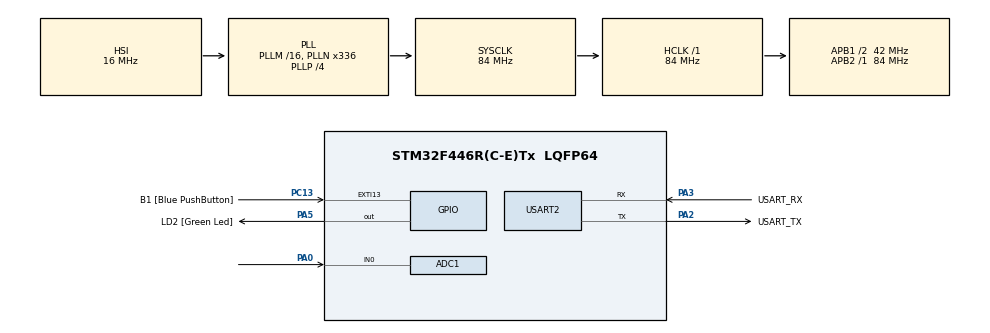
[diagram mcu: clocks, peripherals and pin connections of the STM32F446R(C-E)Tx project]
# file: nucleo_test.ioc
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Mcu.Family=STM32F4
PH0-OSC_IN.Signal=RCC_OSC_IN
RCC.CortexFreq_Value=84000000
ADC1.ContinuousConvMode=ENABLE
PA14.GPIO_Label=TCK
PC13.GPIO_Label=B1 [Blue PushButton]
RCC.SYSCLKSource=RCC_SYSCLKSOURCE_PLLCLK
ProjectManager.StackSize=0x400
RCC.HCLKFreq_Value=84000000
RCC.APB2TimFreq_Value=84000000
TIM3.Period=84
Dma.ADC1.0.Direction=DMA_PERIPH_TO_MEMORY
NVIC.DMA2_Stream0_IRQn=true\:0\:0\:false\:false\:true\:false\:true
Dma.ADC1.0.MemDataAlignment=DMA_MDATAALIGN_HALFWORD
RCC.AHBFreq_Value=84000000
PH0-OSC_IN.Mode=HSE-External-Oscillator
TIM3.ClockDivision=TIM_CLOCKDIVISION_DIV2
ADC1.Channel-0\#ChannelRegularConversion=ADC_CHANNEL_0
RCC.HSE_VALUE=8000000
ADC1.ScanConvMode=DISABLE
PC14-OSC32_IN.Mode=LSE-External-Oscillator
PA14.Mode=Serial_Wire
Dma.ADC1.0.PeriphInc=DMA_PINC_DISABLE
SH.ADCx_IN0.0=ADC1_IN0,IN0
ADC1.SamplingTime-0\#ChannelRegularConversion=ADC_SAMPLETIME_3CYCLES
RCC.FLatency-AdvancedSettings=FLASH_LATENCY_2
PH1-OSC_OUT.Mode=HSE-External-Oscillator
Mcu.Package=LQFP64
USART2.VirtualMode=VM_ASYNC
STMicroelectronics.X-CUBE-ALGOBUILD.1.2.0.LibraryCcDSPOoLibraryJjDSPOoLibrary=true
PA2.GPIO_Label=USART_TX
RCC.APB1TimFreq_Value=84000000
Dma.ADC1.0.FIFOMode=DMA_FIFOMODE_DISABLE
VP_STMicroelectronics.X-CUBE-ALGOBUILD_VS_DSPOoLibraryJjLibrary_1.2.0_1.2.0.Mode=DSPOoLibraryJjLibrary
Dma.Request0=ADC1
VP_TIM3_VS_ClockSourceINT.Mode=Internal
PA3.Signal=USART2_RX
PB3.GPIO_Label=SWO
PC15-OSC32_OUT.Mode=LSE-External-Oscillator
Dma.ADC1.0.Instance=DMA2_Stream0
ADC1.Rank-0\#ChannelRegularConversion=1
TIM3.AutoReloadPreload=TIM_AUTORELOAD_PRELOAD_ENABLE
PC13.Signal=GPXTI13
ADC1.DiscontinuousConvMode=DISABLE
TIM8.TIM_MasterSlaveMode=TIM_MASTERSLAVEMODE_ENABLE
RCC.APB1CLKDivider=RCC_HCLK_DIV2
PC14-OSC32_IN.Signal=RCC_OSC32_IN
PA0-WKUP.Signal=ADCx_IN0
PA13.Signal=SYS_JTMS-SWDIO
PA3.Mode=Asynchronous
Dma.ADC1.0.PeriphDataAlignment=DMA_PDATAALIGN_HALFWORD
ProjectManager.TargetToolchain=STM32CubeIDE
Dma.ADC1.0.Mode=DMA_CIRCULAR
Dma.ADC1.0.Priority=DMA_PRIORITY_HIGH
VP_TIM8_VS_ClockSourceINT.Mode=Internal
RCC.USBFreq_Value=168000000
PC15-OSC32_OUT.Signal=RCC_OSC32_OUT
PA5.Signal=GPIO_Output
TIM8.AutoReloadPreload=TIM_AUTORELOAD_PRELOAD_ENABLE
board=NUCLEO-F446RE
RCC.VCOOutputFreq_Value=336000000
RCC.APB2Freq_Value=84000000
PH1-OSC_OUT.Signal=RCC_OSC_OUT
ADC1.DMAContinuousRequests=ENABLE
ADC1.NbrOfConversion=1
PA13.Mode=Serial_Wire
Mcu.Name=STM32F446R(C-E)Tx
PA2.Signal=USART2_TX
PA13.GPIO_Label=TMS
ADC1.ExternalTrigConv=ADC_EXTERNALTRIGCONV_T3_TRGO
TIM8.Period=170
RCC.48MHZClocksFreq_Value=84000000
PB3.Signal=SYS_JTDO-SWO
RCC.SYSCLKFreq_VALUE=84000000
ADC1.master=1
PA5.GPIO_Label=LD2 [Green Led]
TIM8.TIM_MasterOutputTrigger=TIM_TRGO_UPDATE
PC13.GPIO_ModeDefaultEXTI=GPIO_MODE_IT_FALLING
TIM3.TIM_MasterSlaveMode=TIM_MASTERSLAVEMODE_ENABLE
PA14.Signal=SYS_JTCK-SWCLK
Dma.ADC1.0.MemInc=DMA_MINC_ENABLE
ProjectManager.HeapSize=0x200
RCC.HSI_VALUE=16000000
NVIC.TIM8_UP_TIM13_IRQn=true\:0\:0\:false\:false\:true\:true\:true
RCC.PLLP=RCC_PLLP_DIV4
NVIC.PriorityGroup=NVIC_PRIORITYGROUP_0
ADC1.NbrOfConversionFlag=1
RCC.PLLN=336
PA2.Mode=Asynchronous
TIM3.TIM_MasterOutputTrigger=TIM_TRGO_UPDATE
RCC.APB1Freq_Value=42000000
PA3.GPIO_Label=USART_RX

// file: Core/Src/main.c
/* USER CODE BEGIN Header */
/**
  ******************************************************************************
  * @file           : main.c
  * @brief          : Main program body
  ******************************************************************************
  * @attention
  *
  * <h2><center>&copy; Copyright (c) 2021 STMicroelectronics.
  * All rights reserved.</center></h2>
  *
  * This software component is licensed by ST under BSD 3-Clause license,
  * the "License"; You may not use this file except in compliance with the
  * License. You may obtain a copy of the License at:
  *                        opensource.org/licenses/BSD-3-Clause
  *
  ******************************************************************************
  */
/* USER CODE END Header */
#include "main.h"

/* USER CODE BEGIN Includes */
#define ARM_MATH_CM4
#include "arm_math.h"
//const int16_t  FFTSIZE=1024;
#define FFTSIZE 1024
//
//
//
/* USER CODE END Includes */

ADC_HandleTypeDef hadc1;
DMA_HandleTypeDef hdma_adc1;

TIM_HandleTypeDef htim3;
TIM_HandleTypeDef htim8;

UART_HandleTypeDef huart2;

void SystemClock_Config(void);
static void MX_GPIO_Init(void);
static void MX_DMA_Init(void);
static void MX_USART2_UART_Init(void);
static void MX_TIM8_Init(void);
static void MX_ADC1_Init(void);
static void MX_TIM3_Init(void);

/* USER CODE BEGIN PFP */

arm_cfft_radix2_instance_q15 S;

q15_t pData[FFTSIZE*2]={0};

q15_t  cfft_res[FFTSIZE*2];

arm_cfft_radix2_instance_q15 S;

void HAL_ADC_ConvCpltCallback(ADC_HandleTypeDef* hadc)
{
    asm("   nop");
}

void HAL_ADC_ConvHalfCpltCallback(ADC_HandleTypeDef* hadc) {
	int i;
	int16_t *ip = cfft_res;

	asm("  nop");

    //for(i=0;i<FFTSIZE*2; i++) {
    //	cfft_res[i] = 0;
    //}

	for(i=0;i<FFTSIZE; i++) {
		*ip++ = pData[i]-2048; //re,im,re,im,re,im............
	    *ip++ = 0;
    }

	asm("  nop");
	//arm_cfft_radix2_init_q15 ( S, FFTSIZE, 0, 1);
    arm_cfft_radix2_init_q15 ( &S, 1024, 0, 1);

	arm_cfft_radix2_q15(&S, cfft_res);
	asm("  nop");

}

/* USER CODE END PFP */

int main(void)
{
  /* USER CODE BEGIN 1 */
int i,j,k;
  /* USER CODE END 1 */

  /* MCU Configuration--------------------------------------------------------*/

  /* Reset of all peripherals, Initializes the Flash interface and the Systick. */
  HAL_Init();

  /* Configure the system clock */
  SystemClock_Config();

  /* Initialize all configured peripherals */
  MX_GPIO_Init();
  MX_DMA_Init();
  MX_USART2_UART_Init();
  MX_TIM8_Init();
  MX_ADC1_Init();
  MX_TIM3_Init();
  /* USER CODE BEGIN 2 */

   i = HAL_TIM_Base_Start_IT(&htim8); // 2uS
   j = HAL_TIM_Base_Start(&htim3); // 2uS for DAC

   // HAL_ADC_Start_DMA_IT(&hadc1, &pData, 1024); ? que ?

   //i = HAL_ADC_Start_DMA(hadc, pData, Length)
   // what what what HAL_ADC_Start_IT(&hadc1);
   j = HAL_ADC_Start_DMA(&hadc1, (uint32_t*)&pData, FFTSIZE);
   HAL_ADC_MspInit(&hadc1); // missing ingredient to get the DMA actually working
  /* USER CODE END 2 */

  /* Infinite loop */
  while (1)
  {

    /* USER CODE BEGIN 3 */

	  HAL_GPIO_TogglePin(GPIOA, 1<<5);
	  asm ("   nop");
	  j = HAL_ADC_Start_DMA(&hadc1, (uint32_t*)&pData, FFTSIZE);
	  HAL_Delay(1000); // 1000 is one second
	  asm ("   nop");
	  i = htim8.Instance->CNT;
	  j = htim3.Instance->CNT;
	  asm ("   nop");
	  //HAL_GPIO_WritePin(GPIO_TypeDef* GPIOx, uint16_t GPIO_Pin, GPIO_PinState PinState)
  }
  /* USER CODE END 3 */
}

void SystemClock_Config(void)
{
  RCC_OscInitTypeDef RCC_OscInitStruct = {0};
  RCC_ClkInitTypeDef RCC_ClkInitStruct = {0};

  /** Configure the main internal regulator output voltage
  */
  __HAL_RCC_PWR_CLK_ENABLE();
  __HAL_PWR_VOLTAGESCALING_CONFIG(PWR_REGULATOR_VOLTAGE_SCALE3);
  /** Initializes the RCC Oscillators according to the specified parameters
  * in the RCC_OscInitTypeDef structure.
  */
  RCC_OscInitStruct.OscillatorType = RCC_OSCILLATORTYPE_HSI;
  RCC_OscInitStruct.HSIState = RCC_HSI_ON;
  RCC_OscInitStruct.HSICalibrationValue = RCC_HSICALIBRATION_DEFAULT;
  RCC_OscInitStruct.PLL.PLLState = RCC_PLL_ON;
  RCC_OscInitStruct.PLL.PLLSource = RCC_PLLSOURCE_HSI;
  RCC_OscInitStruct.PLL.PLLM = 16;
  RCC_OscInitStruct.PLL.PLLN = 336;
  RCC_OscInitStruct.PLL.PLLP = RCC_PLLP_DIV4;
  RCC_OscInitStruct.PLL.PLLQ = 2;
  RCC_OscInitStruct.PLL.PLLR = 2;
  if (HAL_RCC_OscConfig(&RCC_OscInitStruct) != HAL_OK)
  {
    Error_Handler();
  }
  /** Initializes the CPU, AHB and APB buses clocks
  */
  RCC_ClkInitStruct.ClockType = RCC_CLOCKTYPE_HCLK|RCC_CLOCKTYPE_SYSCLK
                              |RCC_CLOCKTYPE_PCLK1|RCC_CLOCKTYPE_PCLK2;
  RCC_ClkInitStruct.SYSCLKSource = RCC_SYSCLKSOURCE_PLLCLK;
  RCC_ClkInitStruct.AHBCLKDivider = RCC_SYSCLK_DIV1;
  RCC_ClkInitStruct.APB1CLKDivider = RCC_HCLK_DIV2;
  RCC_ClkInitStruct.APB2CLKDivider = RCC_HCLK_DIV1;

  if (HAL_RCC_ClockConfig(&RCC_ClkInitStruct, FLASH_LATENCY_2) != HAL_OK)
  {
    Error_Handler();
  }
}

static void MX_ADC1_Init(void)
{

  ADC_ChannelConfTypeDef sConfig = {0};

  /** Configure the global features of the ADC (Clock, Resolution, Data Alignment and number of conversion)
  */
  hadc1.Instance = ADC1;
  hadc1.Init.ClockPrescaler = ADC_CLOCK_SYNC_PCLK_DIV4;
  hadc1.Init.Resolution = ADC_RESOLUTION_12B;
  hadc1.Init.ScanConvMode = DISABLE;
  hadc1.Init.ContinuousConvMode = ENABLE;
  hadc1.Init.DiscontinuousConvMode = DISABLE;
  hadc1.Init.ExternalTrigConvEdge = ADC_EXTERNALTRIGCONVEDGE_RISING;
  hadc1.Init.ExternalTrigConv = ADC_EXTERNALTRIGCONV_T3_TRGO;
  hadc1.Init.DataAlign = ADC_DATAALIGN_RIGHT;
  hadc1.Init.NbrOfConversion = 1;
  hadc1.Init.DMAContinuousRequests = ENABLE;
  hadc1.Init.EOCSelection = ADC_EOC_SINGLE_CONV;
  if (HAL_ADC_Init(&hadc1) != HAL_OK)
  {
    Error_Handler();
  }
  /** Configure for the selected ADC regular channel its corresponding rank in the sequencer and its sample time.
  */
  sConfig.Channel = ADC_CHANNEL_0;
  sConfig.Rank = 1;
  sConfig.SamplingTime = ADC_SAMPLETIME_3CYCLES;
  if (HAL_ADC_ConfigChannel(&hadc1, &sConfig) != HAL_OK)
  {
    Error_Handler();
  }

}

static void MX_TIM3_Init(void)
{

  TIM_ClockConfigTypeDef sClockSourceConfig = {0};
  TIM_MasterConfigTypeDef sMasterConfig = {0};

  htim3.Instance = TIM3;
  htim3.Init.Prescaler = 0;
  htim3.Init.CounterMode = TIM_COUNTERMODE_UP;
  htim3.Init.Period = 84;
  htim3.Init.ClockDivision = TIM_CLOCKDIVISION_DIV2;
  htim3.Init.AutoReloadPreload = TIM_AUTORELOAD_PRELOAD_ENABLE;
  if (HAL_TIM_Base_Init(&htim3) != HAL_OK)
  {
    Error_Handler();
  }
  sClockSourceConfig.ClockSource = TIM_CLOCKSOURCE_INTERNAL;
  if (HAL_TIM_ConfigClockSource(&htim3, &sClockSourceConfig) != HAL_OK)
  {
    Error_Handler();
  }
  sMasterConfig.MasterOutputTrigger = TIM_TRGO_UPDATE;
  sMasterConfig.MasterSlaveMode = TIM_MASTERSLAVEMODE_ENABLE;
  if (HAL_TIMEx_MasterConfigSynchronization(&htim3, &sMasterConfig) != HAL_OK)
  {
    Error_Handler();
  }

}

static void MX_TIM8_Init(void)
{

  TIM_ClockConfigTypeDef sClockSourceConfig = {0};
  TIM_MasterConfigTypeDef sMasterConfig = {0};

  htim8.Instance = TIM8;
  htim8.Init.Prescaler = 0;
  htim8.Init.CounterMode = TIM_COUNTERMODE_UP;
  htim8.Init.Period = 170;
  htim8.Init.ClockDivision = TIM_CLOCKDIVISION_DIV1;
  htim8.Init.RepetitionCounter = 0;
  htim8.Init.AutoReloadPreload = TIM_AUTORELOAD_PRELOAD_ENABLE;
  if (HAL_TIM_Base_Init(&htim8) != HAL_OK)
  {
    Error_Handler();
  }
  sClockSourceConfig.ClockSource = TIM_CLOCKSOURCE_INTERNAL;
  if (HAL_TIM_ConfigClockSource(&htim8, &sClockSourceConfig) != HAL_OK)
  {
    Error_Handler();
  }
  sMasterConfig.MasterOutputTrigger = TIM_TRGO_UPDATE;
  sMasterConfig.MasterSlaveMode = TIM_MASTERSLAVEMODE_ENABLE;
  if (HAL_TIMEx_MasterConfigSynchronization(&htim8, &sMasterConfig) != HAL_OK)
  {
    Error_Handler();
  }

}

static void MX_USART2_UART_Init(void)
{

  huart2.Instance = USART2;
  huart2.Init.BaudRate = 115200;
  huart2.Init.WordLength = UART_WORDLENGTH_8B;
  huart2.Init.StopBits = UART_STOPBITS_1;
  huart2.Init.Parity = UART_PARITY_NONE;
  huart2.Init.Mode = UART_MODE_TX_RX;
  huart2.Init.HwFlowCtl = UART_HWCONTROL_NONE;
  huart2.Init.OverSampling = UART_OVERSAMPLING_16;
  if (HAL_UART_Init(&huart2) != HAL_OK)
  {
    Error_Handler();
  }

}

static void MX_DMA_Init(void)
{

  /* DMA controller clock enable */
  __HAL_RCC_DMA2_CLK_ENABLE();

  /* DMA interrupt init */
  /* DMA2_Stream0_IRQn interrupt configuration */
  HAL_NVIC_SetPriority(DMA2_Stream0_IRQn, 0, 0);
  HAL_NVIC_EnableIRQ(DMA2_Stream0_IRQn);

}

static void MX_GPIO_Init(void)
{
  GPIO_InitTypeDef GPIO_InitStruct = {0};

  /* GPIO Ports Clock Enable */
  __HAL_RCC_GPIOC_CLK_ENABLE();
  __HAL_RCC_GPIOH_CLK_ENABLE();
  __HAL_RCC_GPIOA_CLK_ENABLE();
  __HAL_RCC_GPIOB_CLK_ENABLE();

  /*Configure GPIO pin Output Level */
  HAL_GPIO_WritePin(LD2_GPIO_Port, LD2_Pin, GPIO_PIN_RESET);

  /*Configure GPIO pin : B1_Pin */
  GPIO_InitStruct.Pin = B1_Pin;
  GPIO_InitStruct.Mode = GPIO_MODE_IT_FALLING;
  GPIO_InitStruct.Pull = GPIO_NOPULL;
  HAL_GPIO_Init(B1_GPIO_Port, &GPIO_InitStruct);

  /*Configure GPIO pin : LD2_Pin */
  GPIO_InitStruct.Pin = LD2_Pin;
  GPIO_InitStruct.Mode = GPIO_MODE_OUTPUT_PP;
  GPIO_InitStruct.Pull = GPIO_NOPULL;
  GPIO_InitStruct.Speed = GPIO_SPEED_FREQ_LOW;
  HAL_GPIO_Init(LD2_GPIO_Port, &GPIO_InitStruct);

}

void Error_Handler(void)
{
  __disable_irq();
  while (1)
  {
  }
}

/************************ (C) COPYRIGHT STMicroelectronics *****END OF FILE****/
